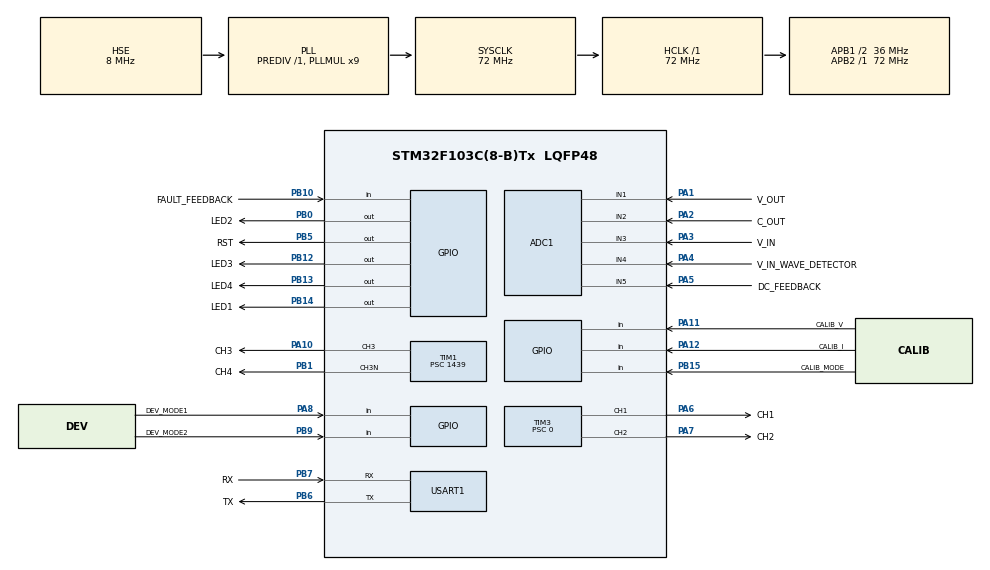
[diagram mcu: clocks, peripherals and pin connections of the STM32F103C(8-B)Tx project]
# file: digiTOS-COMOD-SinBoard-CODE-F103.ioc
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ADC1.Channel-0\#ChannelRegularConversion=ADC_CHANNEL_1
ADC1.ContinuousConvMode=ENABLE
ADC1.NbrOfConversionFlag=1
ADC1.Rank-0\#ChannelRegularConversion=1
ADC1.SamplingTime-0\#ChannelRegularConversion=ADC_SAMPLETIME_1CYCLE_5
ADC1.master=1
Dma.ADC1.1.Direction=DMA_PERIPH_TO_MEMORY
Dma.ADC1.1.Instance=DMA1_Channel1
Dma.ADC1.1.MemDataAlignment=DMA_MDATAALIGN_HALFWORD
Dma.ADC1.1.MemInc=DMA_MINC_ENABLE
Dma.ADC1.1.Mode=DMA_CIRCULAR
Dma.ADC1.1.PeriphDataAlignment=DMA_PDATAALIGN_HALFWORD
Dma.ADC1.1.PeriphInc=DMA_PINC_DISABLE
Dma.ADC1.1.Priority=DMA_PRIORITY_MEDIUM
Dma.Request0=USART1_TX
Dma.Request1=ADC1
Dma.USART1_TX.0.Direction=DMA_MEMORY_TO_PERIPH
Dma.USART1_TX.0.Instance=DMA1_Channel4
Dma.USART1_TX.0.MemDataAlignment=DMA_MDATAALIGN_BYTE
Dma.USART1_TX.0.MemInc=DMA_MINC_ENABLE
Dma.USART1_TX.0.Mode=DMA_NORMAL
Dma.USART1_TX.0.PeriphDataAlignment=DMA_PDATAALIGN_BYTE
Dma.USART1_TX.0.PeriphInc=DMA_PINC_DISABLE
Dma.USART1_TX.0.Priority=DMA_PRIORITY_LOW
IWDG.Prescaler=IWDG_PRESCALER_256
Mcu.Family=STM32F1
Mcu.Name=STM32F103C(8-B)Tx
Mcu.Package=LQFP48
NVIC.ADC1_2_IRQn=true\:3\:1\:true\:false\:true\:true
NVIC.DMA1_Channel1_IRQn=true\:2\:0\:true\:false\:true\:false
NVIC.DMA1_Channel4_IRQn=true\:3\:0\:true\:false\:true\:false
NVIC.FLASH_IRQn=true\:0\:0\:false\:false\:true\:true
NVIC.PVD_IRQn=true\:0\:0\:false\:false\:true\:true
NVIC.PriorityGroup=NVIC_PRIORITYGROUP_2
NVIC.RCC_IRQn=true\:0\:0\:true\:false\:true\:true
NVIC.TIM1_BRK_IRQn=true\:0\:0\:false\:false\:true\:true
NVIC.TIM1_CC_IRQn=true\:0\:0\:false\:false\:true\:true
NVIC.TIM1_TRG_COM_IRQn=true\:0\:0\:false\:false\:true\:true
NVIC.TIM1_UP_IRQn=true\:0\:0\:false\:false\:true\:true
NVIC.TIM2_IRQn=true\:1\:3\:true\:false\:true\:true
NVIC.TIM3_IRQn=true\:0\:0\:true\:false\:true\:true
NVIC.TIM4_IRQn=true\:1\:0\:true\:false\:true\:true
NVIC.USART1_IRQn=true\:3\:2\:true\:false\:true\:true
PA1.GPIO_Label=V_OUT
PA1.Signal=ADCx_IN1
PA10.GPIO_Label=CH3
PA10.GPIO_Speed=GPIO_SPEED_FREQ_HIGH
PA10.Signal=S_TIM1_CH3
PA11.GPIO_Label=CALIB_V
PA11.Signal=GPIO_Input
PA12.GPIO_Label=CALIB_I
PA12.Signal=GPIO_Input
PA13.GPIO_Label=DIO
PA13.Mode=JTAG_4_pins
PA13.Signal=SYS_JTMS-SWDIO
PA14.GPIO_Label=CLK
PA14.Mode=JTAG_4_pins
PA14.Signal=SYS_JTCK-SWCLK
PA15.GPIO_Label=DI
PA15.Mode=JTAG_4_pins
PA15.Signal=SYS_JTDI
PA2.GPIO_Label=C_OUT
PA2.Signal=ADCx_IN2
PA3.GPIO_Label=V_IN
PA3.Signal=ADCx_IN3
PA4.GPIO_Label=V_IN_WAVE_DETECTOR
PA4.Signal=ADCx_IN4
PA5.GPIO_Label=DC_FEEDBACK
PA5.Signal=ADCx_IN5
PA6.GPIO_Label=CH1
PA6.GPIO_Speed=GPIO_SPEED_FREQ_HIGH
PA6.Signal=S_TIM3_CH1
PA7.GPIO_Label=CH2
PA7.GPIO_Speed=GPIO_SPEED_FREQ_HIGH
PA7.Signal=S_TIM3_CH2
PA8.GPIO_Label=DEV_MODE1
PA8.Signal=GPIO_Input
PB0.GPIO_Label=LED2
PB0.GPIO_Speed=GPIO_SPEED_FREQ_HIGH
PB0.PinState=GPIO_PIN_SET
PB0.Signal=GPIO_Output
PB1.GPIO_Label=CH4
PB1.GPIO_Speed=GPIO_SPEED_FREQ_HIGH
PB1.Mode=Output Compare3 CH3 CH3N
PB1.Signal=TIM1_CH3N
PB10.GPIO_Label=FAULT_FEEDBACK
PB10.Signal=GPIO_Input
PB12.GPIO_Label=LED3
PB12.GPIO_Speed=GPIO_SPEED_FREQ_HIGH
PB12.PinState=GPIO_PIN_SET
PB12.Signal=GPIO_Output
PB13.GPIO_Label=LED4
PB13.GPIO_Speed=GPIO_SPEED_FREQ_HIGH
PB13.PinState=GPIO_PIN_SET
PB13.Signal=GPIO_Output
PB14.GPIO_Label=LED1
PB14.GPIO_Speed=GPIO_SPEED_FREQ_HIGH
PB14.PinState=GPIO_PIN_SET
PB14.Signal=GPIO_Output
PB15.GPIO_Label=CALIB_MODE
PB15.Signal=GPIO_Input
PB3.GPIO_Label=DO_TRACE
PB3.Mode=JTAG_4_pins
PB3.Signal=SYS_JTDO-TRACESWO
PB5.GPIO_Label=RST
PB5.GPIO_Speed=GPIO_SPEED_FREQ_HIGH
PB5.PinState=GPIO_PIN_SET
PB5.Signal=GPIO_Output
PB6.GPIO_Label=TX
PB6.Mode=Asynchronous
PB6.Signal=USART1_TX
PB7.GPIO_Label=RX
PB7.Mode=Asynchronous
PB7.Signal=USART1_RX
PB9.GPIO_Label=DEV_MODE2
PB9.Signal=GPIO_Input
PC14-OSC32_IN.GPIO_Label=OSC32_IN
PC14-OSC32_IN.Mode=LSE-External-Oscillator
PC14-OSC32_IN.Signal=RCC_OSC32_IN
PC15-OSC32_OUT.GPIO_Label=OSC32_OUT
PC15-OSC32_OUT.Mode=LSE-External-Oscillator
PC15-OSC32_OUT.Signal=RCC_OSC32_OUT
PD0-OSC_IN.GPIO_Label=OSC_IN
PD0-OSC_IN.Mode=HSE-External-Oscillator
PD0-OSC_IN.Signal=RCC_OSC_IN
PD1-OSC_OUT.GPIO_Label=OSC_OUT
PD1-OSC_OUT.Mode=HSE-External-Oscillator
PD1-OSC_OUT.Signal=RCC_OSC_OUT
ProjectManager.HeapSize=0x200
ProjectManager.StackSize=0x400
ProjectManager.TargetToolchain=TrueSTUDIO
RCC.ADCPresc=RCC_ADCPCLK2_DIV6
RCC.AHBFreq_Value=72000000
RCC.APB1CLKDivider=RCC_HCLK_DIV2
RCC.APB1Freq_Value=36000000
RCC.APB1TimFreq_Value=72000000
RCC.APB2Freq_Value=72000000
RCC.APB2TimFreq_Value=72000000
RCC.HCLKFreq_Value=72000000
RCC.PLLMUL=RCC_PLL_MUL9
RCC.PLLSourceVirtual=RCC_PLLSOURCE_HSE
RCC.SYSCLKFreq_VALUE=72000000
RCC.SYSCLKSource=RCC_SYSCLKSOURCE_PLLCLK
RCC.USBFreq_Value=72000000
SH.ADCx_IN1.0=ADC1_IN1,IN1
SH.ADCx_IN2.0=ADC1_IN2,IN2
SH.ADCx_IN3.0=ADC1_IN3,IN3
SH.ADCx_IN4.0=ADC1_IN4,IN4
SH.ADCx_IN5.0=ADC1_IN5,IN5
SH.S_TIM1_CH3.0=TIM1_CH3,Output Compare3 CH3 CH3N
SH.S_TIM3_CH1.0=TIM3_CH1,PWM Generation1 CH1
SH.S_TIM3_CH2.0=TIM3_CH2,PWM Generation2 CH2
TIM1.AutoReloadPreload=TIM_AUTORELOAD_PRELOAD_ENABLE
TIM1.Channel-Output\ Compare3\ CH3\ CH3N=TIM_CHANNEL_3
TIM1.DeadTime=10
TIM1.Period=1000
TIM1.Prescaler=1439
TIM2.AutoReloadPreload=TIM_AUTORELOAD_PRELOAD_ENABLE
TIM2.ClockDivision=TIM_CLOCKDIVISION_DIV1
TIM2.Period=1000
TIM2.Prescaler=35999
TIM3.AutoReloadPreload=TIM_AUTORELOAD_PRELOAD_ENABLE
TIM3.Channel-PWM\ Generation1\ CH1=TIM_CHANNEL_1
TIM3.Channel-PWM\ Generation2\ CH2=TIM_CHANNEL_2
TIM3.Period=1000
TIM3.Prescaler=0
TIM4.AutoReloadPreload=TIM_AUTORELOAD_PRELOAD_ENABLE
TIM4.Period=1000
TIM4.Prescaler=0
USART1.VirtualMode=VM_ASYNC
VP_ADC1_Vref_Input.Mode=IN-Vrefint
VP_CRC_VS_CRC.Mode=CRC_Activate
VP_IWDG_VS_IWDG.Mode=IWDG_Activate
VP_TIM1_VS_ClockSourceINT.Mode=Internal
VP_TIM2_VS_ClockSourceINT.Mode=Internal
VP_TIM3_VS_ClockSourceINT.Mode=Internal
VP_TIM4_VS_ClockSourceINT.Mode=Internal
board=custom

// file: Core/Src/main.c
/* USER CODE BEGIN Header */
/**
  ******************************************************************************
  * @file           : main.c
  * @brief          : Main program body
  ******************************************************************************
  ** This notice applies to any and all portions of this file
  * that are not between comment pairs USER CODE BEGIN and
  * USER CODE END. Other portions of this file, whether
  * inserted by the user or by software development tools
  * are owned by their respective copyright owners.
  *
  * COPYRIGHT(c) 2019 STMicroelectronics
  *
  * Redistribution and use in source and binary forms, with or without modification,
  * are permitted provided that the following conditions are met:
  *   1. Redistributions of source code must retain the above copyright notice,
  *      this list of conditions and the following disclaimer.
  *   2. Redistributions in binary form must reproduce the above copyright notice,
  *      this list of conditions and the following disclaimer in the documentation
  *      and/or other materials provided with the distribution.
  *   3. Neither the name of STMicroelectronics nor the names of its contributors
  *      may be used to endorse or promote products derived from this software
  *      without specific prior written permission.
  *
  * THIS SOFTWARE IS PROVIDED BY THE COPYRIGHT HOLDERS AND CONTRIBUTORS "AS IS"
  * AND ANY EXPRESS OR IMPLIED WARRANTIES, INCLUDING, BUT NOT LIMITED TO, THE
  * IMPLIED WARRANTIES OF MERCHANTABILITY AND FITNESS FOR A PARTICULAR PURPOSE ARE
  * DISCLAIMED. IN NO EVENT SHALL THE COPYRIGHT HOLDER OR CONTRIBUTORS BE LIABLE
  * FOR ANY DIRECT, INDIRECT, INCIDENTAL, SPECIAL, EXEMPLARY, OR CONSEQUENTIAL
  * DAMAGES (INCLUDING, BUT NOT LIMITED TO, PROCUREMENT OF SUBSTITUTE GOODS OR
  * SERVICES; LOSS OF USE, DATA, OR PROFITS; OR BUSINESS INTERRUPTION) HOWEVER
  * CAUSED AND ON ANY THEORY OF LIABILITY, WHETHER IN CONTRACT, STRICT LIABILITY,
  * OR TORT (INCLUDING NEGLIGENCE OR OTHERWISE) ARISING IN ANY WAY OUT OF THE USE
  * OF THIS SOFTWARE, EVEN IF ADVISED OF THE POSSIBILITY OF SUCH DAMAGE.
  *
  ******************************************************************************
  */
/* USER CODE END Header */

#include "main.h"
#include "adc.h"
#include "crc.h"
#include "dma.h"
#include "iwdg.h"
#include "tim.h"
#include "usart.h"
#include "gpio.h"

/* USER CODE BEGIN Includes */

#include "digiTOS-Lib/digiTOS-Generator.h"
#include "digiTOS-Lib/digiTOS-Core.h"
#include "digiTOS-Lib/digiTOS-Sinus.h"
#include "digiTOS-Lib/digiTOS-ADC.h"
#include <stdio.h>
#include <string.h>
#include "stm32_hal_legacy.h"

/* USER CODE END Includes */

void SystemClock_Config(void);

/* USER CODE BEGIN 0 */

void HAL_ADC_ConvCpltCallback(ADC_HandleTypeDef* hadc1)
{
	CheckV_Feedback();
}

/* USER CODE END 0 */

int main(void)
{
  /* USER CODE BEGIN 1 */

	#ifdef DEBUG_MODE
		// Disable IWDG if core is halted
	    //DBGMCU->APB1FZ |= DBGMCU_APB1_FZ_DBG_IWDG_STOP;

		//__HAL_RCC_DBGMCU_CLK_ENABLE();
				//DBGMCU->APB1FZ |= DBGMCU_APB1_FZ_DBG_WWDG_STOP;
				//DBGMCU->APB2FZ = 0xFFFFFFFF;
				//DBGMCU->APB1FZ = 0xFFFFFFFF;
				//DBGMCU->CR |=DBGMCU_CR_DBG_STOP;
			DBGMCU->CR |=DBGMCU_CR_DBG_TIM1_STOP;
				DBGMCU->CR |=DBGMCU_CR_DBG_TIM3_STOP;
		__HAL_DBGMCU_FREEZE_IWDG();
	#endif

  /* USER CODE END 1 */

  /* MCU Configuration--------------------------------------------------------*/

  /* Reset of all peripherals, Initializes the Flash interface and the Systick. */
  HAL_Init();

  /* Configure the system clock */
  SystemClock_Config();

  /* Initialize all configured peripherals */
  MX_GPIO_Init();
  MX_DMA_Init();
  MX_CRC_Init();
  MX_IWDG_Init();
  MX_TIM1_Init();
  MX_TIM3_Init();
  MX_TIM4_Init();
  MX_TIM2_Init();
  MX_USART1_UART_Init();
  MX_ADC1_Init();
  /* USER CODE BEGIN 2 */
  	// NEW IWDG
    DigiTOS_IWDG_Init(DigiTOS_IWDG_Timeout_8s);
    ResetWDG();

    //Init ADC, start DMA
    //and prepare all data
    StartADC();
    /*
while(1){
    ResetWDG();
}

*/
    SinWave=swNOP;

    ResetWDG();

    HAL_GPIO_WritePin(LED1_GPIO_Port, LED1_Pin,GPIO_PIN_SET);
    HAL_GPIO_WritePin(LED2_GPIO_Port, LED2_Pin,GPIO_PIN_SET);
    HAL_GPIO_WritePin(LED3_GPIO_Port, LED3_Pin,GPIO_PIN_SET);
    HAL_GPIO_WritePin(LED4_GPIO_Port, LED4_Pin,GPIO_PIN_SET);

    HAL_TIM_Base_Start(&htim2);
    HAL_TIM_Base_Start_IT(&htim2);

    BoardStatus=sBoot;
    TIM2->ARR=sBoot_Delay;

  /* USER CODE END 2 */

  /* Infinite loop */
  /* USER CODE BEGIN WHILE */
      ResetWDG();

      buttonInit(&CALIB_V, CALIB_V_GPIO_Port, CALIB_V_Pin, GPIO_PIN_RESET, 4000, 10000);
      buttonInit(&CALIB_I, CALIB_I_GPIO_Port, CALIB_I_Pin, GPIO_PIN_RESET, 4000, 10000);
      buttonInit(&CALIB_MODE, CALIB_MODE_GPIO_Port, CALIB_MODE_Pin, GPIO_PIN_RESET, 30, 2000);

      buttonInit(&DevModeKey, DEV_MODE1_GPIO_Port, DEV_MODE1_Pin, GPIO_PIN_RESET, 30, 2000);
      buttonInit(&DevModeKey2, DEV_MODE2_GPIO_Port, DEV_MODE2_Pin, GPIO_PIN_RESET, 30, 1000);
      buttonInit(&FaultFlag, FAULT_FEEDBACK_GPIO_Port, FAULT_FEEDBACK_Pin, GPIO_PIN_RESET, 30, 1000);
      buttonUpdate(&DevModeKey);
      buttonUpdate(&DevModeKey2);
      buttonUpdate(&FaultFlag);
      buttonUpdate(&CALIB_V);
      buttonUpdate(&CALIB_I);
      buttonUpdate(&CALIB_MODE);

      HAL_Delay(500);

      // Init EEPROM and read data
                 if (InitEEPROM()==0) {
               	  strcpy(uart_buff,"NO EEPROM\r\n");
               	  USE_DEF_CALIB();
               	  //EEPROM_DATA[0]=250;
               	  //StoreEEPROM(132,3636);
               	  SerialPrintln(1);
                 } else {
              	  USE_NEW_CALIB();
               	  strcpy(uart_buff,"OK EEPROM\r\n");
               	  SerialPrintln(1);
                 }

      Get_Version();
      SerialPrintln(1);

      Get_ChipID();
      SerialPrintln(1);

      Get_FlashSize();
      SerialPrintln(1);

      ClearUART_Buff();

      // Check for Calib Mode
      if(buttonUpdate(&CALIB_MODE) == isPressed){
    	  strcpy(uart_buff,"CALIB MODE ENABLED\r\n");
    	  SerialPrintln(1);
    	  CalibMode=1;
      } else {
    	  CalibMode=0;
      }

      buttonUpdate(&FaultFlag);
      if(buttonUpdate(&DevModeKey) == isPressed){
    	strcpy(uart_buff,"DEV MODE - wait\r\n");
    	SerialPrintln(1);
    	ResetWDG();
        HAL_Delay(500);
    	//if(buttonUpdate(&DevModeKey) == isPressedLong){
    	if(buttonUpdate(&DevModeKey) == isPressed){
    		//HAL_TIM_Base_Start_IT(&htim16);
    		strcpy(uart_buff,"DEV MODE - confirmed\r\n");
    	    SerialPrintln(1);
    		DevMode1=1;
    	}
      }

        strcpy(uart_buff,"Start Loop\r\n");
        SerialPrintln(1);

        strcpy(uart_buff,"NOP\r\n");
                   SerialPrintln(1);

      	BoardStatus=sGEN;

      	strcpy(uart_buff,"NOP\r\n");
      	           SerialPrintln(1);

      	TIM2->ARR=sDEF_Delay;

      	strcpy(uart_buff,"NOP\r\n");
      	           SerialPrintln(1);

        //Start loop
          HAL_GPIO_WritePin(LED1_GPIO_Port, LED1_Pin,GPIO_PIN_RESET);
          HAL_GPIO_WritePin(LED2_GPIO_Port, LED2_Pin,GPIO_PIN_RESET);
          HAL_GPIO_WritePin(LED3_GPIO_Port, LED3_Pin,GPIO_PIN_RESET);
          HAL_GPIO_WritePin(LED4_GPIO_Port, LED4_Pin,GPIO_PIN_RESET);

          // Start PWM Sinus
          //SinWave=swStart;

           buttonUpdate(&FaultFlag);
           buttonUpdate(&DevModeKey2);
           HAL_Delay(500);
           if(buttonUpdate(&DevModeKey2) == isPressedLong){
        	   strcpy(uart_buff,"Start GENERATOR\r\n");
        	   SerialPrintln(1);
        	   //PWM_50Hz_ON();
        	   //PWM_Sinus_ON();
           }

           strcpy(uart_buff,"NOP\r\n");
           SerialPrintln(1);

           buttonUpdate(&FaultFlag);
           TIM4->PSC=SinResPSC;

           HAL_TIM_Base_Start(&htim4);
           HAL_TIM_Base_Start_IT(&htim4);

  while (1)
  {
    /* USER CODE END WHILE */

    /* USER CODE BEGIN 3 */
	  //if (CheckV_FLAG==1) {
		//  CheckV_FLAG=2;//busy Flag
		  //CheckV_Feedback();
		//  CheckV_FLAG=0; // clear Flag
		  //continue;
	  //}
	  //
	  if (UpdateAmp_FLAG==1) {
	//	  HAL_GPIO_WritePin(LED1_GPIO_Port, LED1_Pin,GPIO_PIN_RESET);
	  			UpdateAmp_FLAG=2;//busy Flag
	  			UpdateAmplitudeByV();
	  			UpdateAmp_FLAG=0; // clear Flag
	 // 	  HAL_GPIO_WritePin(LED1_GPIO_Port, LED1_Pin,GPIO_PIN_SET);
	  			//continue;
	  }
//	  GEN_FLAG=1;
//#pragma GCC push_options
//#pragma GCC optimize ("-O0")

//your code
	  volatile uint32_t tmp =HAL_GetTick();
	  tmp=tmp %4307;
	    if(tmp %4307>2149){
			 GEN_FLAG=1;//	    	  SinWave=swStart;
	    }
	    else{
	    	GEN_FLAG=0;// SinWave=swStop;
	    }
//#pragma GCC pop_options

/*
	  //
	  if ((buttonUpdate(&FaultFlag) == isPressed) || (buttonUpdate(&FaultFlag) == isPressedLong)) {
		  Fault_FLAG=1;
	  } else {
		  Fault_FLAG=0;
	  }
	  //
	  if  (buttonUpdate(&DevModeKey2) == isPressed) {
		  GEN_FLAG=1;
	  } else {
		  GEN_FLAG=0;
	  }

	  //
	  if (Print_FLAG==1) {
		  PrintCurrentState();
		  Print_FLAG=0;
	  }
*/
  }
  /* USER CODE END 3 */
}

void SystemClock_Config(void)
{
  RCC_OscInitTypeDef RCC_OscInitStruct = {0};
  RCC_ClkInitTypeDef RCC_ClkInitStruct = {0};
  RCC_PeriphCLKInitTypeDef PeriphClkInit = {0};

  /**Initializes the CPU, AHB and APB busses clocks
  */
  RCC_OscInitStruct.OscillatorType = RCC_OSCILLATORTYPE_LSI|RCC_OSCILLATORTYPE_HSE;
  RCC_OscInitStruct.HSEState = RCC_HSE_ON;
  RCC_OscInitStruct.HSEPredivValue = RCC_HSE_PREDIV_DIV1;
  RCC_OscInitStruct.HSIState = RCC_HSI_ON;
  RCC_OscInitStruct.LSIState = RCC_LSI_ON;
  RCC_OscInitStruct.PLL.PLLState = RCC_PLL_ON;
  RCC_OscInitStruct.PLL.PLLSource = RCC_PLLSOURCE_HSE;
  RCC_OscInitStruct.PLL.PLLMUL = RCC_PLL_MUL9;
  if (HAL_RCC_OscConfig(&RCC_OscInitStruct) != HAL_OK)
  {
    Error_Handler();
  }
  /**Initializes the CPU, AHB and APB busses clocks
  */
  RCC_ClkInitStruct.ClockType = RCC_CLOCKTYPE_HCLK|RCC_CLOCKTYPE_SYSCLK
                              |RCC_CLOCKTYPE_PCLK1|RCC_CLOCKTYPE_PCLK2;
  RCC_ClkInitStruct.SYSCLKSource = RCC_SYSCLKSOURCE_PLLCLK;
  RCC_ClkInitStruct.AHBCLKDivider = RCC_SYSCLK_DIV1;
  RCC_ClkInitStruct.APB1CLKDivider = RCC_HCLK_DIV2;
  RCC_ClkInitStruct.APB2CLKDivider = RCC_HCLK_DIV1;

  if (HAL_RCC_ClockConfig(&RCC_ClkInitStruct, FLASH_LATENCY_2) != HAL_OK)
  {
    Error_Handler();
  }
  PeriphClkInit.PeriphClockSelection = RCC_PERIPHCLK_ADC;
  PeriphClkInit.AdcClockSelection = RCC_ADCPCLK2_DIV6;
  if (HAL_RCCEx_PeriphCLKConfig(&PeriphClkInit) != HAL_OK)
  {
    Error_Handler();
  }
}

void Error_Handler(void)
{
}

/************************ (C) COPYRIGHT STMicroelectronics *****END OF FILE****/
